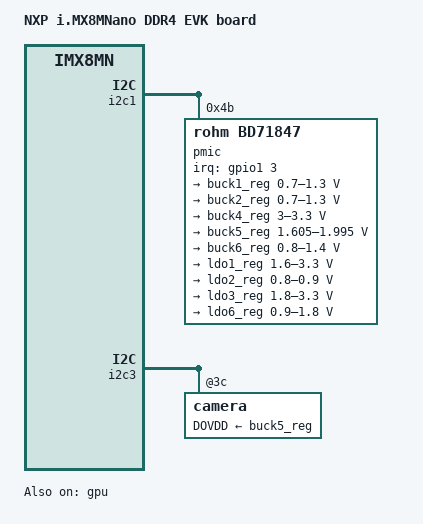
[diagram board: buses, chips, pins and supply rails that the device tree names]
// SPDX-License-Identifier: (GPL-2.0+ OR MIT)
/*
 * Copyright 2019 NXP
 */

/dts-v1/;

#include "imx8mn.dtsi"
#include "imx8mn-evk.dtsi"

/ {
	model = "NXP i.MX8MNano DDR4 EVK board";
	compatible = "fsl,imx8mn-ddr4-evk", "fsl,imx8mn";
};

&A53_0 {
	cpu-supply = <&buck2_reg>;
};

&A53_1 {
	cpu-supply = <&buck2_reg>;
};

&A53_2 {
	cpu-supply = <&buck2_reg>;
};

&A53_3 {
	cpu-supply = <&buck2_reg>;
};

&i2c1 {
	pmic@4b {
		compatible = "rohm,bd71847";
		reg = <0x4b>;
		pinctrl-names = "default";
		pinctrl-0 = <&pinctrl_pmic>;
		interrupt-parent = <&gpio1>;
		interrupts = <3 IRQ_TYPE_LEVEL_LOW>;
		rohm,reset-snvs-powered;

		#clock-cells = <0>;
		clocks = <&osc_32k>;
		clock-output-names = "clk-32k-out";

		regulators {
			buck1_reg: BUCK1 {
				regulator-name = "buck1";
				regulator-min-microvolt = <700000>;
				regulator-max-microvolt = <1300000>;
				regulator-boot-on;
				regulator-always-on;
				regulator-ramp-delay = <1250>;
				rohm,dvs-run-voltage = <850000>;
				rohm,dvs-suspend-voltage = <750000>;
			};

			buck2_reg: BUCK2 {
				regulator-name = "buck2";
				regulator-min-microvolt = <700000>;
				regulator-max-microvolt = <1300000>;
				regulator-boot-on;
				regulator-always-on;
				regulator-ramp-delay = <1250>;
				rohm,dvs-run-voltage = <1000000>;
				rohm,dvs-idle-voltage = <900000>;
				rohm,dvs-suspend-voltage = <0>;
			};

			buck4_reg: BUCK4 {
				// BUCK6 in datasheet
				regulator-name = "buck4";
				regulator-min-microvolt = <3000000>;
				regulator-max-microvolt = <3300000>;
				regulator-boot-on;
				regulator-always-on;
			};

			buck5_reg: BUCK5 {
				// BUCK7 in datasheet
				regulator-name = "buck5";
				regulator-min-microvolt = <1605000>;
				regulator-max-microvolt = <1995000>;
				regulator-boot-on;
				regulator-always-on;
			};

			buck6_reg: BUCK6 {
				// BUCK8 in datasheet
				regulator-name = "buck6";
				regulator-min-microvolt = <800000>;
				regulator-max-microvolt = <1400000>;
				regulator-boot-on;
				regulator-always-on;
			};

			ldo1_reg: LDO1 {
				regulator-name = "ldo1";
				regulator-min-microvolt = <1600000>;
				regulator-max-microvolt = <3300000>;
				regulator-boot-on;
				regulator-always-on;
			};

			ldo2_reg: LDO2 {
				regulator-name = "ldo2";
				regulator-min-microvolt = <800000>;
				regulator-max-microvolt = <900000>;
				regulator-boot-on;
				regulator-always-on;
			};

			ldo3_reg: LDO3 {
				regulator-name = "ldo3";
				regulator-min-microvolt = <1800000>;
				regulator-max-microvolt = <3300000>;
				regulator-boot-on;
				regulator-always-on;
			};

			ldo6_reg: LDO6 {
				regulator-name = "ldo6";
				regulator-min-microvolt = <900000>;
				regulator-max-microvolt = <1800000>;
				regulator-boot-on;
				regulator-always-on;
			};
		};
	};
};

&gpu {
	assigned-clocks = <&clk IMX8MN_CLK_GPU_CORE_SRC>,
			<&clk IMX8MN_CLK_GPU_SHADER_SRC>,
			<&clk IMX8MN_CLK_GPU_AXI>,
			<&clk IMX8MN_CLK_GPU_AHB>,
			<&clk IMX8MN_GPU_PLL>,
			<&clk IMX8MN_CLK_GPU_CORE_DIV>,
			<&clk IMX8MN_CLK_GPU_SHADER_DIV>;
	assigned-clock-parents = <&clk IMX8MN_GPU_PLL_OUT>,
			<&clk IMX8MN_GPU_PLL_OUT>,
			<&clk IMX8MN_SYS_PLL1_800M>,
			<&clk IMX8MN_SYS_PLL1_800M>;
	assigned-clock-rates = <0>, <0>, <800000000>, <400000000>, <1200000000>,
			<400000000>, <400000000>;
	status= "okay";
};

&i2c3 {
	camera@3c {
		DOVDD-supply = <&buck5_reg>;
	};
};
